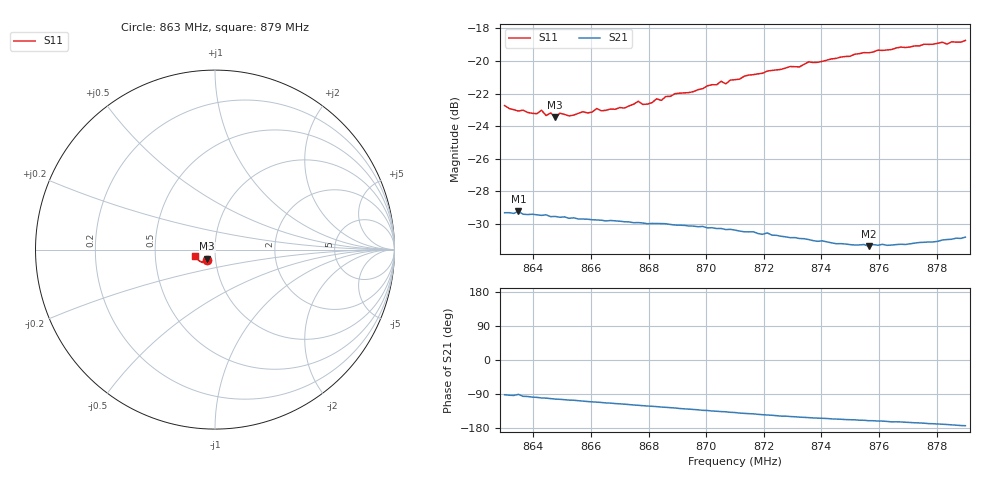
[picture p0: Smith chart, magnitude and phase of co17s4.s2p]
# HZ S RI R 50
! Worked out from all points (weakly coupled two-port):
!   101 points, 863 MHz to 879 MHz, reference 50 ohm
!   highest |S21| = -29.23 dB at 863.48 MHz (marker M1); lowest = -31.4 dB at 875.64 MHz (marker M2)
!   lowest |S11| = -23.5 dB at 864.76 MHz (marker M3), VSWR 1.14, Z = 45.6 - j4.72 ohm
!   |S11| at or under -10 dB: start of sweep to end of sweep
!   S12 and S22 are empty: the file has one direction only
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8.63e8  -0.046 -0.0566  -0.000992 -0.0342  0 0  0 0
8.6348e8  -0.0425 -0.0558  -0.000436 -0.0345  0 0  0 0
8.6412e8  -0.0409 -0.0555  -0.00504 -0.0333  0 0  0 0
8.6428e8  -0.0413 -0.0573  -0.0059 -0.0331  0 0  0 0
8.6444e8  -0.0394 -0.0554  -0.0062 -0.0331  0 0  0 0
8.646e8  -0.0396 -0.0568  -0.00685 -0.0326  0 0  0 0
8.6476e8  -0.043 -0.0514  -0.00758 -0.0325  0 0  0 0
8.6492e8  -0.0395 -0.0567  -0.00788 -0.0322  0 0  0 0
8.6524e8  -0.0367 -0.057  -0.00892 -0.0317  0 0  0 0
8.6572e8  -0.0369 -0.0593  -0.0104 -0.031  0 0  0 0
8.6716e8  -0.0369 -0.0614  -0.0143 -0.0287  0 0  0 0
8.6764e8  -0.0381 -0.0648  -0.0158 -0.0278  0 0  0 0
8.678e8  -0.0381 -0.0629  -0.0162 -0.0274  0 0  0 0
8.6828e8  -0.0385 -0.0661  -0.0173 -0.0266  0 0  0 0
8.6844e8  -0.0385 -0.0651  -0.0178 -0.0262  0 0  0 0
8.6892e8  -0.0409 -0.068  -0.0187 -0.0251  0 0  0 0
8.6956e8  -0.043 -0.0681  -0.0202 -0.0237  0 0  0 0
8.71e8  -0.0508 -0.0713  -0.0227 -0.02  0 0  0 0
8.7372e8  -0.068 -0.0718  -0.025 -0.0128  0 0  0 0
8.7564e8  -0.0841 -0.0644  -0.0254 -0.00918  0 0  0 0
8.7644e8  -0.0911 -0.0587  -0.0261 -0.00785  0 0  0 0
8.79e8  -0.1093 -0.0374  -0.0286 -0.0033  0 0  0 0
